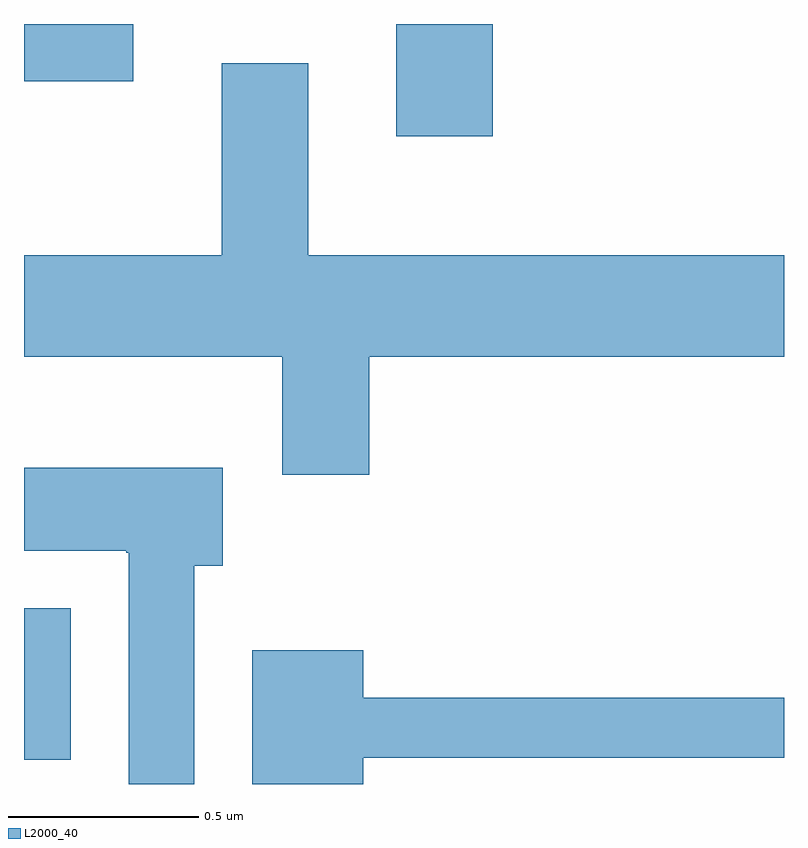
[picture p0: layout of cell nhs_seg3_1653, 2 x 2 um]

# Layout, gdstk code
import gdstk
lib = gdstk.Library(unit=1e-6, precision=1e-09)
def R(c, l, rs):  # rectangles x0, y0, x1, y1
    for r in rs: c.add(gdstk.rectangle(r[:2], r[2:], *l))
def P(c, l, *ps):  # polygons
    for p in ps: c.add(gdstk.Polygon(p, *l))
L2000_40 = (2000, 40)

nhs_seg3_1653 = lib.new_cell('nhs_seg3_1653')
R(nhs_seg3_1653, L2000_40, [(197.611,1124.956,197.734,1125.354), (198.591,1126.596,198.844,1126.892), (197.611,1126.741,197.899,1126.892)])
P(nhs_seg3_1653, L2000_40, [(198.519,1126.016),(199.611,1126.016),(199.611,1126.284),(198.359,1126.284),(198.359,1126.789),(198.131,1126.789),(198.131,1126.284),(197.611,1126.284),(197.611,1126.016),(198.291,1126.016),(198.291,1125.706),(198.519,1125.706)],
  [(198.059,1125.466),(198.134,1125.466),(198.134,1125.724),(197.611,1125.724),(197.611,1125.506),(197.88,1125.506),(197.88,1125.5),(197.886,1125.5),(197.886,1124.892),(198.059,1124.892)],
  [(198.504,1124.961),(199.611,1124.961),(199.611,1125.119),(198.504,1125.119),(198.504,1125.244),(198.211,1125.244),(198.211,1124.892),(198.504,1124.892)])

lib.write_gds('nhs_seg3_1653.gds')
